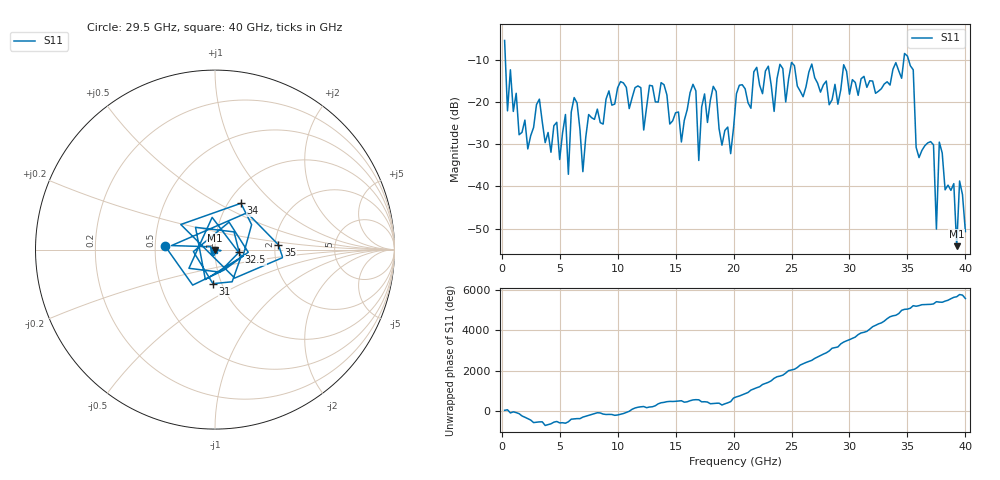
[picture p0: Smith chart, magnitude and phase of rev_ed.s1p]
!Created with skrf (http://scikit-rf.org).
# GHz S RI R 50.0
!freq ReS11 ImS11
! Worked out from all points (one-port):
!   160 points, 250 MHz to 40 GHz, reference 50 ohm
!   lowest |S11| = -54.2 dB at 39.25 GHz (marker M1), VSWR 1.00, Z = 50 - j0.189 ohm
!   |S11| at or under -10 dB: 320.1 MHz to 34.68 GHz (34.36 GHz wide, 196 % of centre); 35.11 GHz to end of sweep
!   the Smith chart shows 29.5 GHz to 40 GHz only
!   S11 on the Smith chart (normalised r, x): 29.5 GHz: 0.56, +0.02; 31 GHz: 0.91, -0.36; 32.5 GHz: 1.31, -0.04; 34 GHz: 1.14, +0.65; 35 GHz: 2.09, +0.13; 40 GHz: 0.99, +0.00
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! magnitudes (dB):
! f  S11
! 250 MHz  -5.3
! 500 MHz  -22.0
! 2.25 GHz  -31.1
! 5.25 GHz  -27.3
! 5.75 GHz  -37.1
! 6.5 GHz  -20.1
! 7 GHz  -36.5
! 10.25 GHz  -15.1
! 15.25 GHz  -22.3
! 17 GHz  -33.8
! 18.25 GHz  -16.2
! 19.75 GHz  -32.2
! 20.25 GHz  -18.0
! 25.25 GHz  -11.3
! 29.5 GHz  -11.1
! 30.25 GHz  -14.6
! 31 GHz  -14.4
! 32.5 GHz  -17.4
! 34 GHz  -10.6
! 35 GHz  -9.0
! 35.25 GHz  -11.3
! 36 GHz  -33.1
! 37.25 GHz  -30.1
! 37.5 GHz  -50.1
! 37.75 GHz  -29.5
! 39.25 GHz  -54.2
! 39.5 GHz  -38.7
! 40 GHz  -50.7
